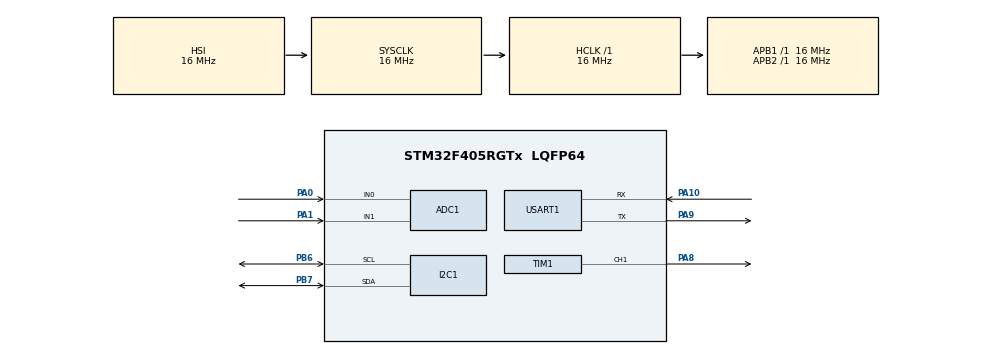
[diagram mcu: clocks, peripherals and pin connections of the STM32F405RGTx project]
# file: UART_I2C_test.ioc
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ADC1.Channel-0\#ChannelRegularConversion=ADC_CHANNEL_0
ADC1.Channel-1\#ChannelRegularConversion=ADC_CHANNEL_1
ADC1.NbrOfConversion=2
ADC1.NbrOfConversionFlag=1
ADC1.Rank-0\#ChannelRegularConversion=1
ADC1.Rank-1\#ChannelRegularConversion=2
ADC1.SamplingTime-0\#ChannelRegularConversion=ADC_SAMPLETIME_3CYCLES
ADC1.SamplingTime-1\#ChannelRegularConversion=ADC_SAMPLETIME_3CYCLES
ADC1.master=1
Dma.Request0=USART1_RX
Dma.Request1=USART1_TX
Dma.USART1_RX.0.Direction=DMA_PERIPH_TO_MEMORY
Dma.USART1_RX.0.FIFOMode=DMA_FIFOMODE_DISABLE
Dma.USART1_RX.0.Instance=DMA2_Stream2
Dma.USART1_RX.0.MemDataAlignment=DMA_MDATAALIGN_BYTE
Dma.USART1_RX.0.MemInc=DMA_MINC_ENABLE
Dma.USART1_RX.0.Mode=DMA_NORMAL
Dma.USART1_RX.0.PeriphDataAlignment=DMA_PDATAALIGN_BYTE
Dma.USART1_RX.0.PeriphInc=DMA_PINC_DISABLE
Dma.USART1_RX.0.Priority=DMA_PRIORITY_LOW
Dma.USART1_TX.1.Direction=DMA_MEMORY_TO_PERIPH
Dma.USART1_TX.1.FIFOMode=DMA_FIFOMODE_DISABLE
Dma.USART1_TX.1.Instance=DMA2_Stream7
Dma.USART1_TX.1.MemDataAlignment=DMA_MDATAALIGN_BYTE
Dma.USART1_TX.1.MemInc=DMA_MINC_ENABLE
Dma.USART1_TX.1.Mode=DMA_NORMAL
Dma.USART1_TX.1.PeriphDataAlignment=DMA_PDATAALIGN_BYTE
Dma.USART1_TX.1.PeriphInc=DMA_PINC_DISABLE
Dma.USART1_TX.1.Priority=DMA_PRIORITY_LOW
Mcu.Family=STM32F4
Mcu.Name=STM32F405RGTx
Mcu.Package=LQFP64
NVIC.DMA2_Stream2_IRQn=true\:0\:0\:false\:false\:true\:false\:true
NVIC.DMA2_Stream7_IRQn=true\:0\:0\:false\:false\:true\:false\:true
NVIC.PriorityGroup=NVIC_PRIORITYGROUP_4
NVIC.USART1_IRQn=true\:0\:0\:false\:false\:true\:true\:true
PA0-WKUP.Signal=ADCx_IN0
PA1.Signal=ADCx_IN1
PA10.Mode=Asynchronous
PA10.Signal=USART1_RX
PA8.Signal=S_TIM1_CH1
PA9.Mode=Asynchronous
PA9.Signal=USART1_TX
PB6.Mode=I2C
PB6.Signal=I2C1_SCL
PB7.Mode=I2C
PB7.Signal=I2C1_SDA
ProjectManager.HeapSize=0x200
ProjectManager.StackSize=0x400
ProjectManager.TargetToolchain=SW4STM32
RCC.AHBFreq_Value=16000000
RCC.APB1Freq_Value=16000000
RCC.APB2Freq_Value=16000000
RCC.CortexFreq_Value=16000000
RCC.HSE_VALUE=25000000
RCC.HSI_VALUE=16000000
RCC.LSE_VALUE=32768
RCC.SYSCLKFreq_VALUE=16000000
RCC.VCOOutputFreq_Value=192000000
SH.ADCx_IN0.0=ADC1_IN0,IN0
SH.ADCx_IN1.0=ADC1_IN1,IN1
SH.S_TIM1_CH1.0=TIM1_CH1,PWM Generation1 CH1
TIM1.Channel-PWM\ Generation1\ CH1=TIM_CHANNEL_1
USART1.VirtualMode=VM_ASYNC
board=custom

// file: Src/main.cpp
/* USER CODE BEGIN Header */
/**
  ******************************************************************************
  * @file           : main.c
  * @brief          : Main program body
  ******************************************************************************
  * @attention
  *
  * <h2><center>&copy; Copyright (c) 2020 STMicroelectronics.
  * All rights reserved.</center></h2>
  *
  * This software component is licensed by ST under BSD 3-Clause license,
  * the "License"; You may not use this file except in compliance with the
  * License. You may obtain a copy of the License at:
  *                        opensource.org/licenses/BSD-3-Clause
  *
  ******************************************************************************
  */
/* USER CODE END Header */

#include "main.h"

/* USER CODE BEGIN Includes */
#include "I2C.h"
#include "UART.h"
#include <string.h>
/* USER CODE END Includes */

ADC_HandleTypeDef hadc1;
uint16_t adc[2];

I2C_HandleTypeDef hi2c1;

TIM_HandleTypeDef htim1;

UART_HandleTypeDef huart1;
DMA_HandleTypeDef hdma_usart1_rx;
DMA_HandleTypeDef hdma_usart1_tx;

/* USER CODE BEGIN PV */
uartDMA *Serial;
I2C *TWI;
uint8_t rxBuffer[100];
/* USER CODE END PV */

void SystemClock_Config(void);
static void MX_GPIO_Init(void);
static void MX_DMA_Init(void);
static void MX_I2C1_Init(void);
static void MX_USART1_UART_Init(void);
static void MX_ADC1_Init(void);
static void MX_TIM1_Init(void);

int main(void)
{

  /* MCU Configuration--------------------------------------------------------*/

  /* Reset of all peripherals, Initializes the Flash interface and the Systick. */
  HAL_Init();

  /* Configure the system clock */
  SystemClock_Config();

  /* Initialize all configured peripherals */
  MX_GPIO_Init();
  MX_DMA_Init();
  MX_I2C1_Init();
  MX_USART1_UART_Init();
  MX_ADC1_Init();
  MX_TIM1_Init();
  /* USER CODE BEGIN 2 */
  Serial = new uartDMA(&huart1);
    TWI = new I2C(&hi2c1);
  /* USER CODE END 2 */

  /* Infinite loop */
  while (1)
  {

    /* USER CODE BEGIN 3 */
	  if(NULL != strstr((char*)rxBuffer,"hello")) {
	 		  Serial->Send((uint8_t*)"hello\r\n",7);
	 	  }

  }
  /* USER CODE END 3 */
}

void SystemClock_Config(void)
{
  RCC_OscInitTypeDef RCC_OscInitStruct = {0};
  RCC_ClkInitTypeDef RCC_ClkInitStruct = {0};

  /** Configure the main internal regulator output voltage
  */
  __HAL_RCC_PWR_CLK_ENABLE();
  __HAL_PWR_VOLTAGESCALING_CONFIG(PWR_REGULATOR_VOLTAGE_SCALE1);
  /** Initializes the CPU, AHB and APB busses clocks
  */
  RCC_OscInitStruct.OscillatorType = RCC_OSCILLATORTYPE_HSI;
  RCC_OscInitStruct.HSIState = RCC_HSI_ON;
  RCC_OscInitStruct.HSICalibrationValue = RCC_HSICALIBRATION_DEFAULT;
  RCC_OscInitStruct.PLL.PLLState = RCC_PLL_NONE;
  if (HAL_RCC_OscConfig(&RCC_OscInitStruct) != HAL_OK)
  {
    Error_Handler();
  }
  /** Initializes the CPU, AHB and APB busses clocks
  */
  RCC_ClkInitStruct.ClockType = RCC_CLOCKTYPE_HCLK|RCC_CLOCKTYPE_SYSCLK
                              |RCC_CLOCKTYPE_PCLK1|RCC_CLOCKTYPE_PCLK2;
  RCC_ClkInitStruct.SYSCLKSource = RCC_SYSCLKSOURCE_HSI;
  RCC_ClkInitStruct.AHBCLKDivider = RCC_SYSCLK_DIV1;
  RCC_ClkInitStruct.APB1CLKDivider = RCC_HCLK_DIV1;
  RCC_ClkInitStruct.APB2CLKDivider = RCC_HCLK_DIV1;

  if (HAL_RCC_ClockConfig(&RCC_ClkInitStruct, FLASH_LATENCY_0) != HAL_OK)
  {
    Error_Handler();
  }
}

static void MX_ADC1_Init(void)
{

  ADC_ChannelConfTypeDef sConfig = {0};

  /** Configure the global features of the ADC (Clock, Resolution, Data Alignment and number of conversion)
  */
  hadc1.Instance = ADC1;
  hadc1.Init.ClockPrescaler = ADC_CLOCK_SYNC_PCLK_DIV2;
  hadc1.Init.Resolution = ADC_RESOLUTION_12B;
  hadc1.Init.ScanConvMode = ENABLE;
  hadc1.Init.ContinuousConvMode = DISABLE;
  hadc1.Init.DiscontinuousConvMode = DISABLE;
  hadc1.Init.ExternalTrigConvEdge = ADC_EXTERNALTRIGCONVEDGE_NONE;
  hadc1.Init.ExternalTrigConv = ADC_SOFTWARE_START;
  hadc1.Init.DataAlign = ADC_DATAALIGN_RIGHT;
  hadc1.Init.NbrOfConversion = 2;
  hadc1.Init.DMAContinuousRequests = DISABLE;
  hadc1.Init.EOCSelection = ADC_EOC_SINGLE_CONV;
  if (HAL_ADC_Init(&hadc1) != HAL_OK)
  {
    Error_Handler();
  }
  /** Configure for the selected ADC regular channel its corresponding rank in the sequencer and its sample time.
  */
  sConfig.Channel = ADC_CHANNEL_0;
  sConfig.Rank = 1;
  sConfig.SamplingTime = ADC_SAMPLETIME_3CYCLES;
  if (HAL_ADC_ConfigChannel(&hadc1, &sConfig) != HAL_OK)
  {
    Error_Handler();
  }
  /** Configure for the selected ADC regular channel its corresponding rank in the sequencer and its sample time.
  */
  sConfig.Channel = ADC_CHANNEL_1;
  sConfig.Rank = 2;
  if (HAL_ADC_ConfigChannel(&hadc1, &sConfig) != HAL_OK)
  {
    Error_Handler();
  }

}

static void MX_I2C1_Init(void)
{

  hi2c1.Instance = I2C1;
  hi2c1.Init.ClockSpeed = 100000;
  hi2c1.Init.DutyCycle = I2C_DUTYCYCLE_2;
  hi2c1.Init.OwnAddress1 = 0;
  hi2c1.Init.AddressingMode = I2C_ADDRESSINGMODE_7BIT;
  hi2c1.Init.DualAddressMode = I2C_DUALADDRESS_DISABLE;
  hi2c1.Init.OwnAddress2 = 0;
  hi2c1.Init.GeneralCallMode = I2C_GENERALCALL_DISABLE;
  hi2c1.Init.NoStretchMode = I2C_NOSTRETCH_DISABLE;
  if (HAL_I2C_Init(&hi2c1) != HAL_OK)
  {
    Error_Handler();
  }

}

static void MX_TIM1_Init(void)
{

  TIM_MasterConfigTypeDef sMasterConfig = {0};
  TIM_OC_InitTypeDef sConfigOC = {0};
  TIM_BreakDeadTimeConfigTypeDef sBreakDeadTimeConfig = {0};

  htim1.Instance = TIM1;
  htim1.Init.Prescaler = 0;
  htim1.Init.CounterMode = TIM_COUNTERMODE_UP;
  htim1.Init.Period = 0;
  htim1.Init.ClockDivision = TIM_CLOCKDIVISION_DIV1;
  htim1.Init.RepetitionCounter = 0;
  htim1.Init.AutoReloadPreload = TIM_AUTORELOAD_PRELOAD_DISABLE;
  if (HAL_TIM_PWM_Init(&htim1) != HAL_OK)
  {
    Error_Handler();
  }
  sMasterConfig.MasterOutputTrigger = TIM_TRGO_RESET;
  sMasterConfig.MasterSlaveMode = TIM_MASTERSLAVEMODE_DISABLE;
  if (HAL_TIMEx_MasterConfigSynchronization(&htim1, &sMasterConfig) != HAL_OK)
  {
    Error_Handler();
  }
  sConfigOC.OCMode = TIM_OCMODE_PWM1;
  sConfigOC.Pulse = 0;
  sConfigOC.OCPolarity = TIM_OCPOLARITY_HIGH;
  sConfigOC.OCNPolarity = TIM_OCNPOLARITY_HIGH;
  sConfigOC.OCFastMode = TIM_OCFAST_DISABLE;
  sConfigOC.OCIdleState = TIM_OCIDLESTATE_RESET;
  sConfigOC.OCNIdleState = TIM_OCNIDLESTATE_RESET;
  if (HAL_TIM_PWM_ConfigChannel(&htim1, &sConfigOC, TIM_CHANNEL_1) != HAL_OK)
  {
    Error_Handler();
  }
  sBreakDeadTimeConfig.OffStateRunMode = TIM_OSSR_DISABLE;
  sBreakDeadTimeConfig.OffStateIDLEMode = TIM_OSSI_DISABLE;
  sBreakDeadTimeConfig.LockLevel = TIM_LOCKLEVEL_OFF;
  sBreakDeadTimeConfig.DeadTime = 0;
  sBreakDeadTimeConfig.BreakState = TIM_BREAK_DISABLE;
  sBreakDeadTimeConfig.BreakPolarity = TIM_BREAKPOLARITY_HIGH;
  sBreakDeadTimeConfig.AutomaticOutput = TIM_AUTOMATICOUTPUT_DISABLE;
  if (HAL_TIMEx_ConfigBreakDeadTime(&htim1, &sBreakDeadTimeConfig) != HAL_OK)
  {
    Error_Handler();
  }
  HAL_TIM_MspPostInit(&htim1);

}

static void MX_USART1_UART_Init(void)
{

  huart1.Instance = USART1;
  huart1.Init.BaudRate = 115200;
  huart1.Init.WordLength = UART_WORDLENGTH_8B;
  huart1.Init.StopBits = UART_STOPBITS_1;
  huart1.Init.Parity = UART_PARITY_NONE;
  huart1.Init.Mode = UART_MODE_TX_RX;
  huart1.Init.HwFlowCtl = UART_HWCONTROL_NONE;
  huart1.Init.OverSampling = UART_OVERSAMPLING_16;
  if (HAL_UART_Init(&huart1) != HAL_OK)
  {
    Error_Handler();
  }

}

static void MX_DMA_Init(void)
{

  /* DMA controller clock enable */
  __HAL_RCC_DMA2_CLK_ENABLE();

  /* DMA interrupt init */
  /* DMA2_Stream2_IRQn interrupt configuration */
  HAL_NVIC_SetPriority(DMA2_Stream2_IRQn, 0, 0);
  HAL_NVIC_EnableIRQ(DMA2_Stream2_IRQn);
  /* DMA2_Stream7_IRQn interrupt configuration */
  HAL_NVIC_SetPriority(DMA2_Stream7_IRQn, 0, 0);
  HAL_NVIC_EnableIRQ(DMA2_Stream7_IRQn);

}

static void MX_GPIO_Init(void)
{

  /* GPIO Ports Clock Enable */
  __HAL_RCC_GPIOA_CLK_ENABLE();
  __HAL_RCC_GPIOB_CLK_ENABLE();

}

/* USER CODE BEGIN 4 */
#ifdef __cplusplus
 extern "C" {
#endif
 void userUARTInterruptHandler() {
	Serial->copyBuffer(rxBuffer,sizeof(rxBuffer));
 }
#ifdef __cplusplus
 }
#endif
/* USER CODE END 4 */

void Error_Handler(void)
{
}

/************************ (C) COPYRIGHT STMicroelectronics *****END OF FILE****/
